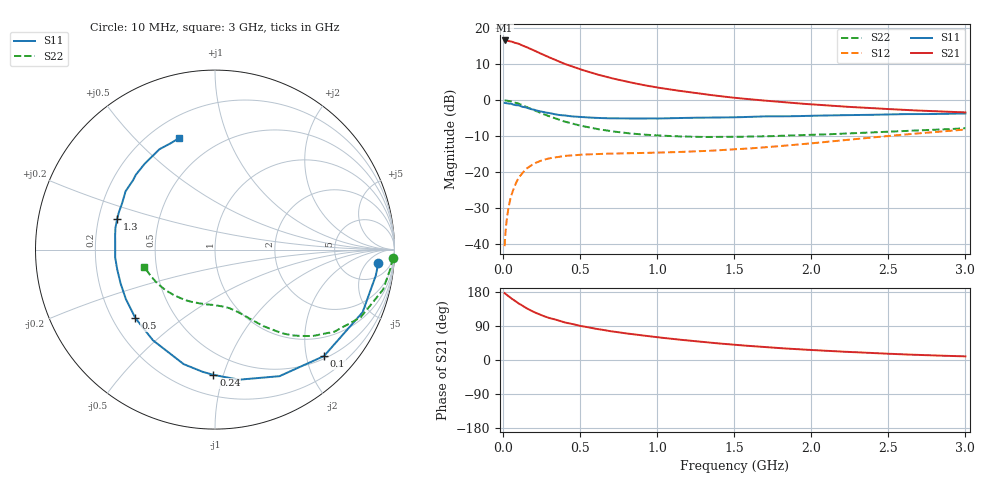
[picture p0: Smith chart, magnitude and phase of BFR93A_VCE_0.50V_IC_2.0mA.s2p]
! (c) 2015  Infineon Technologies AG, Munich
! Infineon Technologies  Discrete & RF Semiconductors
! BFR93A
! VCE = 0.50 V,  IC =  2.0 mA
! Common Emitter S-Parameters:  Nov 2015
# GHz  S  MA  R  50
!  f  S11  S21  S12  S22
! GHz  MAG  ANG  MAG  ANG  MAG  ANG  MAG  ANG
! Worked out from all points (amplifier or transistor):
!   180 points, 10 MHz to 3 GHz, reference 50 ohm
!   highest |S21| = 16.5 dB at 10 MHz (marker M1)
!   |S21| within 3 dB of that: start of sweep to 212.2 MHz
!   unconditionally stable (mu >= 1): 912.9 MHz to end of sweep
!   at 160 MHz: K = 0.21, MSG = 16.7 dB, |S12| = -18.8 dB
!   at 1.22 GHz: K = 1.19, MAG = 5.6 dB, |S12| = -14.3 dB
!   at 3 GHz: K = 1.10, MAG = 0.5 dB, |S12| = -8.2 dB
!   S11 on the Smith chart (normalised r, x): 10 MHz: 12, -11; 100 MHz: 0.55, -2.35; 240 MHz: 0.34, -0.93; 500 MHz: 0.29, -0.34; 1.3 GHz: 0.28, +0.14; 3 GHz: 0.31, +0.68
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0.01  0.9132 -4.7  6.72 176.6  0.0094 88.1  0.9903 -2.7
0.02  0.9074 -9.2  6.71 173.2  0.0184 84.4  0.986 -5.4
0.04  0.8922 -18.4  6.576 166.8  0.0361 77.8  0.9687 -10.6
0.05  0.8933 -23.0  6.541 163.5  0.045 76.5  0.9632 -13.3
0.1  0.8489 -44.3  6.062 149.5  0.0829 64.9  0.8952 -24.9
0.15  0.7915 -63.0  5.462 136.9  0.1112 55.1  0.8075 -34.5
0.2  0.7371 -79.5  4.896 126.6  0.1314 48.0  0.7269 -41.5
0.24  0.6981 -90.7  4.463 119.7  0.1427 43.2  0.6676 -46.0
0.26  0.6843 -95.8  4.271 116.5  0.1476 41.2  0.6417 -48.1
0.3  0.6616 -105.3  3.916 110.8  0.1556 37.9  0.5956 -51.4
0.4  0.6122 -124.4  3.18 99.1  0.168 32.0  0.5031 -57.8
0.5  0.5853 -139.2  2.672 90.0  0.1746 28.3  0.4426 -62.3
0.52  0.5799 -141.5  2.595 88.7  0.1754 27.9  0.4339 -63.0
0.6  0.568 -151.0  2.302 82.5  0.1785 26.3  0.3998 -66.2
0.7  0.5588 -160.2  2.02 75.8  0.181 25.4  0.3704 -69.8
0.9  0.5578 -175.5  1.632 65.0  0.1846 25.4  0.3333 -77.0
1.02  0.5563 177.4  1.473 59.2  0.1871 26.3  0.3217 -81.2
1.3  0.5716 162.6  1.211 47.3  0.1959 29.5  0.3079 -92.9
1.52  0.578 153.8  1.067 39.6  0.2079 32.8  0.3096 -102.4
2.02  0.6076 135.9  0.868 26.0  0.2536 38.3  0.3305 -124.4
2.52  0.6329 121.1  0.746 16.2  0.3203 38.2  0.3649 -145.8
3  0.6524 107.9  0.675 9.6  0.3904 34.0  0.4067 -166.5
